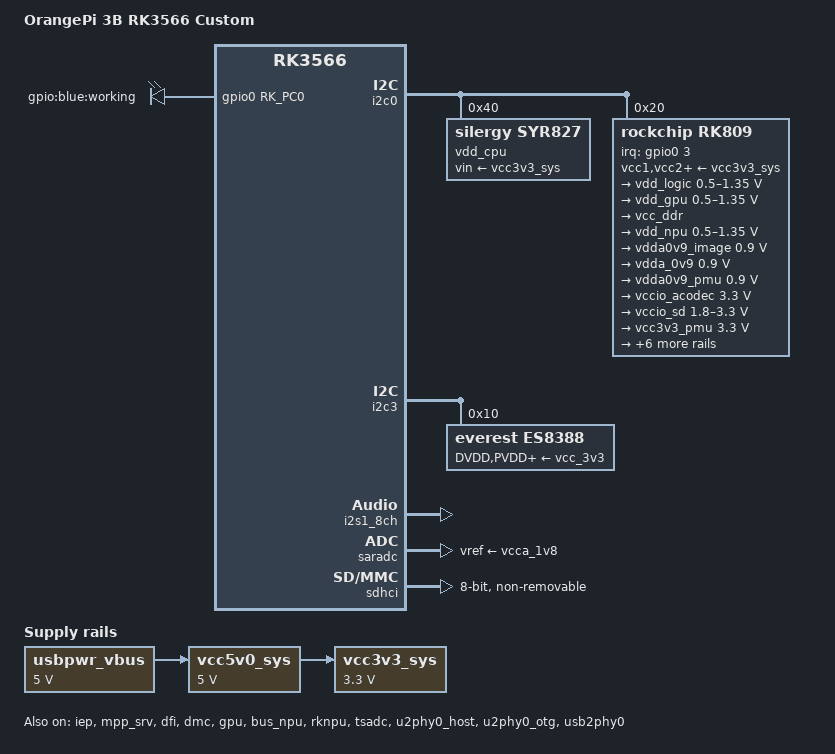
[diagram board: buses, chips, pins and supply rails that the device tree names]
// SPDX-License-Identifier: (GPL-2.0+ OR MIT)
/*
 * Copyright (c) 2024 Rockchip Electronics Co., Ltd.
 *
 */

/dts-v1/;
#include <dt-bindings/gpio/gpio.h>
#include <dt-bindings/pwm/pwm.h>
#include <dt-bindings/pinctrl/rockchip.h>
#include <dt-bindings/input/rk-input.h>
#include <dt-bindings/display/drm_mipi_dsi.h>
#include <dt-bindings/sensor-dev.h>
#include "rk3566.dtsi"
#include "rk3568-linux.dtsi"

/ {
	model = "OrangePi 3B RK3566 Custom";
	compatible = "opi3b,rk3566", "rockchip,rk3566";

	es8388_sound: es8388-sound {
		status = "okay";
		compatible = "rockchip,multicodecs-card";
		rockchip,card-name = "es8388";
		rockchip,format = "i2s";
		rockchip,mclk-fs = <256>;
		rockchip,cpu = <&i2s1_8ch>;
		rockchip,codec = <&es8388>;
	};

	usbpwr_vbus: usbpwr-vbus {
		compatible = "regulator-fixed";
		regulator-name = "usbpwr_vbus";
		regulator-always-on;
		regulator-boot-on;
		regulator-min-microvolt = <5000000>;
		regulator-max-microvolt = <5000000>;
	};

	vcc5v0_sys: vcc5v0-sys {
		compatible = "regulator-fixed";
		regulator-name = "vcc5v0_sys";
		regulator-always-on;
		regulator-boot-on;
		regulator-min-microvolt = <5000000>;
		regulator-max-microvolt = <5000000>;
		vin-supply = <&usbpwr_vbus>;
	};

	vcc3v3_sys: vcc3v3-sys {
		compatible = "regulator-fixed";
		regulator-name = "vcc3v3_sys";
		regulator-always-on;
		regulator-boot-on;
		regulator-min-microvolt = <3300000>;
		regulator-max-microvolt = <3300000>;
		vin-supply = <&vcc5v0_sys>;
	};

	leds: leds {
		compatible = "gpio-leds";
		status = "okay";

		work_led: work {
			label = "gpio:blue:working";
			gpios = <&gpio0 RK_PC0 GPIO_ACTIVE_HIGH>;
			linux,default-trigger = "heartbeat";
		};
	};

	reserved-memory {
		#address-cells = <2>;
		#size-cells = <2>;
		ranges;

		rknpu_reserved: rknpu {
			compatible = "shared-dma-pool";
			inactive;
			reusable;
			size = <0x0 0x20000000>;
			alignment = <0x0 0x1000>;
		};
	};
};

&i2c0 {
	status = "okay";

	vdd_cpu: regulator@40 {
		compatible = "silergy,syr827";
		reg = <0x40>;
		fcs,suspend-voltage-selector = <1>;
		regulator-name = "vdd_cpu";
		regulator-always-on;
		regulator-boot-on;
		regulator-min-microvolt = <830000>;
		regulator-max-microvolt = <1200000>;
		regulator-ramp-delay = <2300>;
		vin-supply = <&vcc3v3_sys>;

		regulator-state-mem {
			regulator-off-in-suspend;
		};
	};

	rk809: pmic@20 {
		compatible = "rockchip,rk809";
		reg = <0x20>;
		interrupt-parent = <&gpio0>;
		interrupts = <3 IRQ_TYPE_LEVEL_LOW>;

		pinctrl-names = "default", "pmic-sleep",
				"pmic-power-off", "pmic-reset";
		pinctrl-0 = <&pmic_int>;
		pinctrl-1 = <&soc_slppin_slp>, <&rk817_slppin_slp>;
		pinctrl-2 = <&soc_slppin_gpio>, <&rk817_slppin_pwrdn>;
		pinctrl-3 = <&soc_slppin_gpio>, <&rk817_slppin_rst>;
		rockchip,system-power-controller;
		wakeup-source;
		#clock-cells = <1>;
		clock-output-names = "rk808-clkout1", "rk808-clkout2";
		//fb-inner-reg-idxs = <2>;
		/* 1: rst regs (default in codes), 0: rst the pmic */
		pmic-reset-func = <0>;
		/* not save the PMIC_POWER_EN register in uboot */
		not-save-power-en = <1>;

		vcc1-supply = <&vcc3v3_sys>;
		vcc2-supply = <&vcc3v3_sys>;
		vcc3-supply = <&vcc3v3_sys>;
		vcc4-supply = <&vcc3v3_sys>;
		vcc5-supply = <&vcc3v3_sys>;
		vcc6-supply = <&vcc3v3_sys>;
		vcc7-supply = <&vcc3v3_sys>;
		vcc8-supply = <&vcc3v3_sys>;
		vcc9-supply = <&vcc3v3_sys>;

		pwrkey {
			status = "okay";
		};

		pinctrl_rk8xx: pinctrl_rk8xx {
			gpio-controller;
			#gpio-cells = <2>;

			rk817_slppin_null: rk817_slppin_null {
				pins = "gpio_slp";
				function = "pin_fun0";
			};

			rk817_slppin_slp: rk817_slppin_slp {
				pins = "gpio_slp";
				function = "pin_fun1";
			};

			rk817_slppin_pwrdn: rk817_slppin_pwrdn {
				pins = "gpio_slp";
				function = "pin_fun2";
			};

			rk817_slppin_rst: rk817_slppin_rst {
				pins = "gpio_slp";
				function = "pin_fun3";
			};
		};

		regulators {
			vdd_logic: DCDC_REG1 {
				regulator-always-on;
				regulator-boot-on;
				regulator-min-microvolt = <500000>;
				regulator-max-microvolt = <1350000>;
				regulator-init-microvolt = <900000>;
				regulator-ramp-delay = <6001>;
				regulator-initial-mode = <0x2>;
				regulator-name = "vdd_logic";
				regulator-state-mem {
					regulator-off-in-suspend;
				};
			};

			vdd_gpu: DCDC_REG2 {
				regulator-always-on;
				regulator-boot-on;
				regulator-min-microvolt = <500000>;
				regulator-max-microvolt = <1350000>;
				regulator-init-microvolt = <900000>;
				regulator-ramp-delay = <6001>;
				regulator-initial-mode = <0x2>;
				regulator-name = "vdd_gpu";
				regulator-state-mem {
					regulator-off-in-suspend;
				};
			};

			vcc_ddr: DCDC_REG3 {
				regulator-always-on;
				regulator-boot-on;
				regulator-initial-mode = <0x2>;
				regulator-name = "vcc_ddr";
				regulator-state-mem {
					regulator-on-in-suspend;
				};
			};

			vdd_npu: DCDC_REG4 {
				regulator-always-on;
				regulator-boot-on;
				regulator-min-microvolt = <500000>;
				regulator-max-microvolt = <1350000>;
				regulator-init-microvolt = <900000>;
				regulator-ramp-delay = <6001>;
				regulator-initial-mode = <0x2>;
				regulator-name = "vdd_npu";
				regulator-state-mem {
					regulator-off-in-suspend;
				};
			};

			vdda0v9_image: LDO_REG1 {
				regulator-boot-on;
				regulator-always-on;
				regulator-min-microvolt = <900000>;
				regulator-max-microvolt = <900000>;
				regulator-name = "vdda0v9_image";
				regulator-state-mem {
					regulator-off-in-suspend;
				};
			};

			vdda_0v9: LDO_REG2 {
				regulator-always-on;
				regulator-boot-on;
				regulator-min-microvolt = <900000>;
				regulator-max-microvolt = <900000>;
				regulator-name = "vdda_0v9";
				regulator-state-mem {
					regulator-off-in-suspend;
				};
			};

			vdda0v9_pmu: LDO_REG3 {
				regulator-always-on;
				regulator-boot-on;
				regulator-min-microvolt = <900000>;
				regulator-max-microvolt = <900000>;
				regulator-name = "vdda0v9_pmu";
				regulator-state-mem {
					regulator-on-in-suspend;
					regulator-suspend-microvolt = <900000>;
				};
			};

			vccio_acodec: LDO_REG4 {
				regulator-always-on;
				regulator-boot-on;
				regulator-min-microvolt = <3300000>;
				regulator-max-microvolt = <3300000>;
				regulator-name = "vccio_acodec";
				regulator-state-mem {
					regulator-off-in-suspend;
				};
			};

			vccio_sd: LDO_REG5 {
				regulator-always-on;
				regulator-boot-on;
				regulator-min-microvolt = <1800000>;
				regulator-max-microvolt = <3300000>;
				regulator-name = "vccio_sd";
				regulator-state-mem {
					regulator-off-in-suspend;
				};
			};

			vcc3v3_pmu: LDO_REG6 {
				regulator-always-on;
				regulator-boot-on;
				regulator-min-microvolt = <3300000>;
				regulator-max-microvolt = <3300000>;
				regulator-name = "vcc3v3_pmu";
				regulator-state-mem {
					regulator-on-in-suspend;
					regulator-suspend-microvolt = <3300000>;
				};
			};

			vcca_1v8: LDO_REG7 {
				regulator-always-on;
				regulator-boot-on;
				regulator-min-microvolt = <1800000>;
				regulator-max-microvolt = <1800000>;
				regulator-name = "vcca_1v8";
				regulator-state-mem {
					regulator-off-in-suspend;
				};
			};

			vcca1v8_pmu: LDO_REG8 {
				regulator-always-on;
				regulator-boot-on;
				regulator-min-microvolt = <1800000>;
				regulator-max-microvolt = <1800000>;
				regulator-name = "vcca1v8_pmu";
				regulator-state-mem {
					regulator-on-in-suspend;
					regulator-suspend-microvolt = <1800000>;
				};
			};

			vcca1v8_image: LDO_REG9 {
				regulator-always-on;
				regulator-boot-on;
				regulator-min-microvolt = <1800000>;
				regulator-max-microvolt = <1800000>;
				regulator-name = "vcca1v8_image";
				regulator-state-mem {
					regulator-off-in-suspend;
				};
			};

			vcc_1v8: DCDC_REG5 {
				regulator-always-on;
				regulator-boot-on;
				regulator-min-microvolt = <1800000>;
				regulator-max-microvolt = <1800000>;
				regulator-name = "vcc_1v8";
				regulator-state-mem {
					regulator-off-in-suspend;
				};
			};

			vcc_3v3: SWITCH_REG1 {
				regulator-always-on;
				regulator-boot-on;
				regulator-name = "vcc_3v3";
				regulator-state-mem {
					regulator-off-in-suspend;
				};
			};

			vcc3v3_codec: SWITCH_REG2 {
				regulator-always-on;
				regulator-boot-on;
				regulator-name = "vcc3v3_codec";
				regulator-state-mem {
					regulator-off-in-suspend;
				};
			};
		};

		rk809_codec: codec {
			#sound-dai-cells = <0>;
			compatible = "rockchip,rk809-codec", "rockchip,rk817-codec";
			status = "disabled";
		};
	};
};

&i2c3 {
	status = "okay";

	es8388: es8388@10 {
		status = "okay";
		#sound-dai-cells = <0>;
		compatible = "everest,es8388", "everest,es8323";
		reg = <0x10>;
		DVDD-supply = <&vcc_3v3>;
		PVDD-supply = <&vcc_3v3>;
		AVDD-supply = <&vcc_3v3>;
		HPVDD-supply = <&vcc_3v3>;
		clocks = <&cru I2S1_MCLKOUT>;
		clock-names = "mclk";
		assigned-clocks = <&cru I2S1_MCLKOUT>, <&cru I2S1_MCLK_TX_IOE>;
		assigned-clock-rates = <12288000>;
		assigned-clock-parents = <&cru I2S1_MCLKOUT_TX>, <&cru I2S1_MCLKOUT_TX>;
		pinctrl-names = "default";
		pinctrl-0 = <&i2s1m1_mclk>;
	};
};

&i2s1_8ch {
	status = "okay";
	rockchip,trcm-sync-tx-only;
	pinctrl-names = "default";
	pinctrl-0 = <&i2s1m1_sclktx
		     &i2s1m1_lrcktx
		     &i2s1m1_sdi0
		     &i2s1m1_sdo0>;
};

&iep {
	status = "okay";
};

&iep_mmu {
	status = "okay";
};

&mpp_srv {
	status = "okay";
};

&pmu_io_domains {
	status = "okay";
	pmuio1-supply = <&vcc3v3_pmu>;
	pmuio2-supply = <&vcc3v3_pmu>;
	vccio1-supply = <&vccio_acodec>;
	vccio2-supply = <&vcc_1v8>;
	vccio4-supply = <&vcc_1v8>;
	vccio6-supply = <&vcc_3v3>;
};

&cpu0 {
	cpu-supply = <&vdd_cpu>;
};

&threshold {
	temperature = <60000>;
};

&soc_thermal {
	sustainable-power = <0>;
};

&dfi {
	status = "okay";
};

&dmc {
	auto-freq-en = <0>;
	center-supply = <&vdd_logic>;
	status = "okay";
};

&gpu {
	mali-supply = <&vdd_gpu>;
	status = "okay";
};

&bus_npu {
	bus-supply = <&vdd_logic>;
	pvtm-supply = <&vdd_cpu>;
	status = "okay";
};

&rknpu {
	memory-region = <&rknpu_reserved>;
	rknpu-supply = <&vdd_npu>;
	status = "okay";
};

&rknpu_mmu {
	status = "okay";
};

&saradc {
	status = "okay";
	vref-supply = <&vcca_1v8>;
};

&sdhci {
	bus-width = <8>;
	supports-emmc;
	non-removable;
	max-frequency = <200000000>;
	status = "okay";
};

&tsadc {
	status = "okay";
};

&u2phy0_host {
	phy-supply = <&usbpwr_vbus>;
	status = "okay";
};

&u2phy0_otg {
	phy-supply = <&usbpwr_vbus>;
	status = "okay";
};

&usb2phy0 {
	status = "okay";
	pinctrl-names = "default";
};

&rockchip_suspend {
	status = "okay";
	rockchip,sleep-debug-en = <1>;
	rockchip,sleep-mode-config = <
		(0
		| RKPM_SLP_CENTER_OFF
		| RKPM_SLP_HW_PLLS_OFF
		| RKPM_SLP_PMUALIVE_32K
		| RKPM_SLP_32K_PVTM
		)
	>;
	rockchip,wakeup-config = <
		(0
		| RKPM_GPIO_WKUP_EN
		| RKPM_USB_WKUP_EN
		)
	>;
};

&pinctrl {
	pmic {
		pmic_int: pmic_int {
			rockchip,pins =
				<0 RK_PA3 RK_FUNC_GPIO &pcfg_pull_up>;
		};

		soc_slppin_gpio: soc_slppin_gpio {
			rockchip,pins =
				<0 RK_PA2 RK_FUNC_GPIO &pcfg_output_low_pull_down>;
		};

		soc_slppin_slp: soc_slppin_slp {
			rockchip,pins =
				<0 RK_PA2 1 &pcfg_pull_up>;
		};

		soc_slppin_rst: soc_slppin_rst {
			rockchip,pins =
				<0 RK_PA2 2 &pcfg_pull_none>;
		};
	};

	leds {
		led_ctl: led-ctl {
			rockchip,pins = <0 RK_PC0 RK_FUNC_GPIO &pcfg_pull_none>;
		};
	};
};
